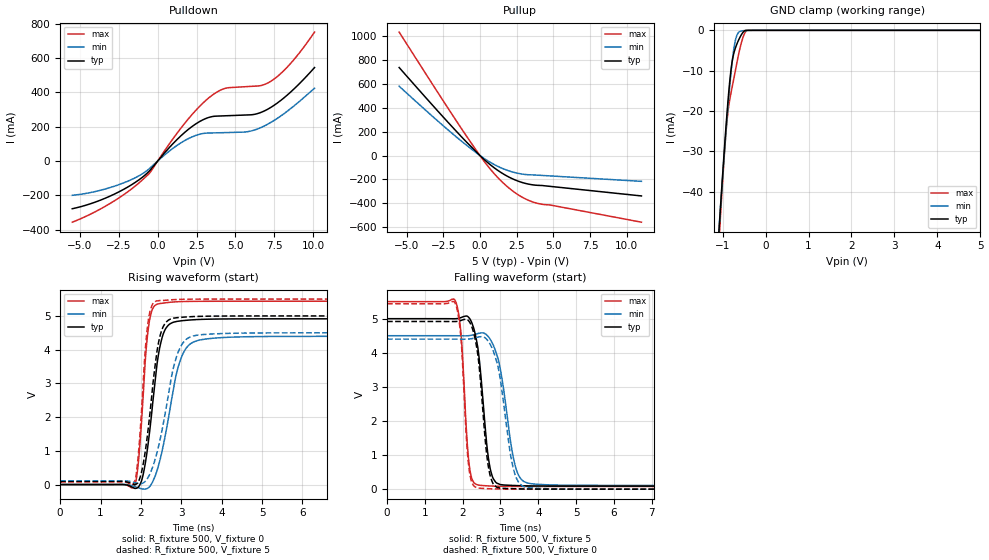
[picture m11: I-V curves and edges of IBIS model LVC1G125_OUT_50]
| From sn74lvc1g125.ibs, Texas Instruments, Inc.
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[Model]   LVC1G125_OUT_50
Model_type  3-state
Enable   Active-Low
Vref =   0
Rref =   500
Cref =   50p
Vmeas =   2.5
| variable   typ   min   max
C_comp   5.46pF   4.62pF   6.85pF
| C_pullup   10.66pF   5.37pF   14.35pF
| C_pulldown   8.12pF   5.89pF   11.34pF
| C_tri-state   5.46pF   4.62pF   6.85pF
[Temperature Range]   40   100   -40
| Ambient temperature   25   85   -40
[Voltage range]   5   4.5   5.5
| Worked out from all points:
|   slope of the pulldown table from 0 to 0.75 V, typ, clamps not added: 9.58 ohm
|   slope of the pullup table from 0 to 0.75 V, typ, clamps not added: 9.16 ohm
|   GND clamp passes 1 mA (typ) near -0.56 V on its own axis
|   rising waveform, R_fixture 500, V_fixture 0: 20-80 % time 292ps typ, 428ps min, 188ps max; typ from 0 V to 4.91 V
|   falling waveform, R_fixture 500, V_fixture 5: 20-80 % time 246ps typ, 352ps min, 167ps max; typ from 5 V to 0.09 V
|   rising waveform, R_fixture 500, V_fixture 5: 20-80 % time 289ps typ, 433ps min, 183ps max; typ from 0.09 V to 5 V
|   falling waveform, R_fixture 500, V_fixture 0: 20-80 % time 237ps typ, 340ps min, 165ps max; typ from 4.92 V to 0 V
[GND Clamp]
| LVC1G125_OUT_50
|   Voltage   I(typ)   I(min)   I(max)
-5.5V     -919.3mA   -858.8mA   -997.3mA
-1.075V   -48.37mA   -48mA      -50.98mA
-1.045V   -43.41mA   -43.4mA    -45.58mA
-965mV    -30.65mA   -31.51mA   -31.99mA
-910mV    -22.5mA    -23.78mA   -24.09mA
-870mV    -17.09mA   -18.49mA   -19.88mA
-820mV    -11.37mA   -12.41mA   -16.45mA
-765mV    -7.06mA    -6.811mA   -13.44mA
-710mV    -4.675mA   -2.92mA    -10.47mA
-590mV    -1.624mA   -231.7uA   -4.242mA
-430mV    -5.996uA   -38.12uA   -30.68uA
5V        30.44pA    126.2nA    731.7pA
[Pulldown]
| LVC1G125_OUT_50
|   Voltage   I(typ)   I(min)   I(max)
-5.5V     -278.2mA   -200.1mA   -356.6mA
-3.105V   -206.2mA   -156.2mA   -249.7mA
-1.01V    -96.55mA   -76.13mA   -112.2mA
-470mV    -51.69mA   -38.68mA   -64.16mA
1.7V      163.4mA    116.7mA    215.2mA
3.355V    255mA      162.5mA    372.4mA
4.32V     262.7mA    164.8mA    422mA
5.745V    267.6mA    169.7mA    432.6mA
6.695V    284.5mA    196.7mA    440mA
7.3V      313.1mA    225.6mA    465.3mA
8.51V     397.9mA    301.9mA    563.9mA
10.09V    543.6mA    423.1mA    750mA
[Pullup]
| LVC1G125_OUT_50
|   Voltage   I(typ)   I(min)   I(max)
-5.5V     739.1mA    581.9mA    1.037A
-2.145V   275.3mA    212.3mA    392.1mA
25mV      -2.998mA   -2.244mA   -4.356mA
545mV     -61.09mA   -45.25mA   -89.63mA
1.07V     -111.9mA   -81.88mA   -165.6mA
1.59V     -154.5mA   -111.4mA   -231mA
2.115V    -189.6mA   -134.5mA   -286.9mA
3.015V    -231.5mA   -158.2mA   -359.1mA
3.915V    -250.3mA   -165mA     -401.6mA
4.73V     -258.6mA   -171mA     -414.5mA
11V       -339.6mA   -217.1mA   -560.1mA
[Ramp]
| LVC1G125_OUT_50
| variable   typ   min   max
dV/dt_r   3.02/3.13E-10   2.72/4.50E-10   3.32/1.97E-10
dV/dt_f   2.99/2.56E-10   2.69/3.67E-10   3.30/1.73E-10
R_load = 500
[Rising Waveform]
| LVC1G125_OUT_50
R_fixture =   500
C_fixture =   0
L_fixture =   0
V_fixture =   0
V_fixture_min = 0
V_fixture_max = 0
|   Time   V(typ)   V(min)   V(max)
0s        181.8pV    4.248nV    2.638nV
1.83ns    -104.7mV   -52.72mV   -58.08mV
1.945ns   -61.64mV   -98.79mV   757.8mV
2.12ns    713.8mV    -133mV     3.86V
2.225ns   1.662V     -47.73mV   4.94V
2.465ns   4.053V     692.4mV    5.366V
2.74ns    4.778V     2.38V      5.407V
3.165ns   4.875V     4.107V     5.43V
4.245ns   4.912V     4.371V     5.435V
50ns      4.914V     4.396V     5.435V
[Falling Waveform]
| LVC1G125_OUT_50
R_fixture =   500
C_fixture =   0
L_fixture =   0
V_fixture =   5
V_fixture_min = 4.5
V_fixture_max = 5.5
|   Time   V(typ)   V(min)   V(max)
0s        5V         4.5V       5.5V
1.805ns   4.998V     4.5V       5.524V
1.955ns   5.032V     4.498V     4.587V
2.18ns    5.011V     4.504V     656.1mV
2.48ns    3.358V     4.582V     110.8mV
2.66ns    1.095V     4.498V     97.01mV
2.81ns    307.5mV    4.225V     89.66mV
3.405ns   106.2mV    627.9mV    80.81mV
3.91ns    94.26mV    148.3mV    79.5mV
50ns      89.64mV    107.6mV    78.97mV
[Rising Waveform]
| LVC1G125_OUT_50
R_fixture =   500
C_fixture =   0
L_fixture =   0
V_fixture =   5
V_fixture_min = 4.5
V_fixture_max = 5.5
|   Time   V(typ)   V(min)   V(max)
0s        89.62mV    107.6mV    78.96mV
1.82ns    6.254mV    64.76mV    27.62mV
1.94ns    88.7mV     33.33mV    939.1mV
2.1ns     922.3mV    85.13mV    3.863V
2.175ns   1.597V     205.2mV    4.796V
2.46ns    4.341V     1.253V     5.456V
2.775ns   4.923V     3.302V     5.48V
2.965ns   4.955V     4.044V     5.491V
3.72ns    4.994V     4.463V     5.499V
50ns      5V         4.5V       5.5V
[Falling Waveform]
| LVC1G125_OUT_50
R_fixture =   500
C_fixture =   0
L_fixture =   0
V_fixture =   0
V_fixture_min = 0
V_fixture_max = 0
|   Time   V(typ)   V(min)   V(max)
0s        4.917V     4.401V     5.437V
1.8ns     4.916V     4.4V       5.456V
1.955ns   4.947V     4.399V     4.435V
2.175ns   4.913V     4.404V     545.4mV
2.47ns    3.199V     4.471V     26.39mV
2.64ns    984.3mV    4.39V      15.63mV
2.795ns   183.8mV    4.092V     9.111mV
3.36ns    13.3mV     525.3mV    1.693mV
3.81ns    4.045mV    34.05mV    559.5uV
50ns      11.25uV    15.88uV    8.466uV
